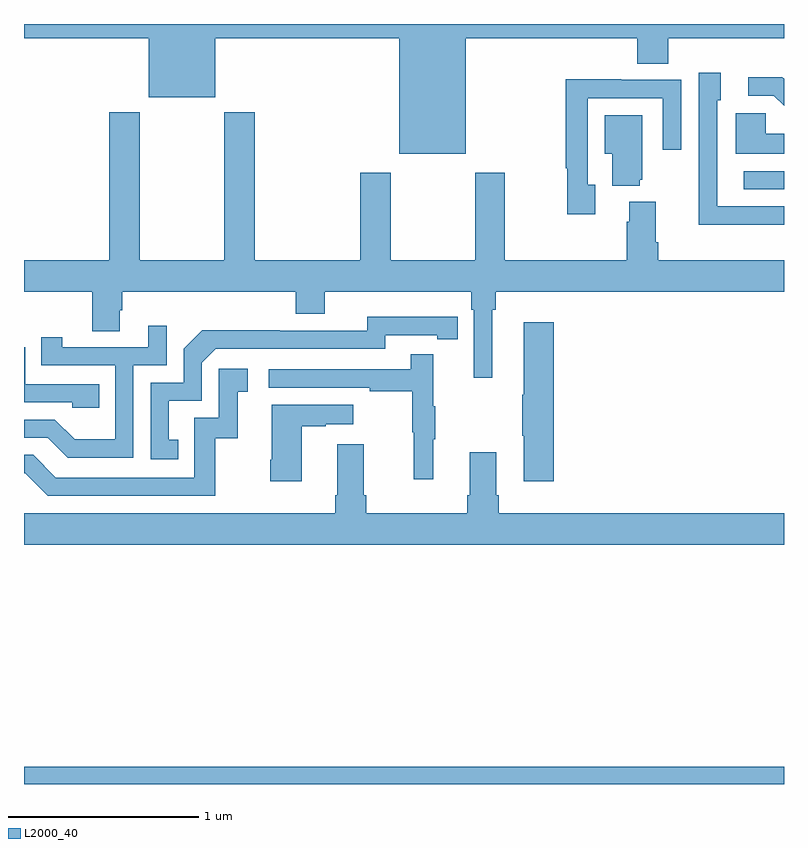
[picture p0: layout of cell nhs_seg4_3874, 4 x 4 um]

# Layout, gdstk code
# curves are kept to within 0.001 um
import gdstk
lib = gdstk.Library(unit=1e-6, precision=1e-09)
def R(c, l, rs):  # rectangles x0, y0, x1, y1
    for r in rs: c.add(gdstk.rectangle(r[:2], r[2:], *l))
def P(c, l, *ps):  # polygons
    for p in ps: c.add(gdstk.Polygon(p, *l))
L2000_40 = (2000, 40)

nhs_seg4_3874 = lib.new_cell('nhs_seg4_3874')
R(nhs_seg4_3874, L2000_40, [(315,788.9,319,788.992), (318.789,792.03,319,792.126)])
P(nhs_seg4_3874, L2000_40, [(317.326,792.824),(318.227,792.824),(318.227,792.691),(318.392,792.691),(318.392,792.824),(319,792.824),(319,792.9),(315,792.9),(315,792.824),(315.656,792.824),(315.656,792.515),(316.006,792.515),(316.006,792.824),(316.976,792.824),(316.976,792.218),(317.326,792.218)],
  [(319,791.94),(318.649,791.94),(318.649,792.194),(318.648,792.194),(318.648,792.498),(318.667,792.498),(318.667,792.643),(318.552,792.643),(318.552,792.149),(318.55,792.149),(318.55,791.843),(319,791.843)],
  [(319,792.611),(318.991,792.62),(318.813,792.62),(318.813,792.522),(318.947,792.522),(319,792.469)],
  [(318.007,792.054),(317.967,792.054),(317.967,792.51),(318.363,792.51),(318.363,792.237),(318.459,792.237),(318.459,792.606),(318.143,792.606),(318.143,792.608),(317.851,792.608),(317.851,792.142),(317.859,792.142),(317.859,791.898),(318.007,791.898)],
  [(317.464,791.396),(317.483,791.396),(317.483,791.492),(319,791.492),(319,791.656),(318.338,791.656),(318.338,791.752),(318.325,791.752),(318.325,791.965),(318.185,791.965),(318.185,791.858),(318.173,791.858),(318.173,791.656),(317.529,791.656),(317.529,792.118),(317.374,792.118),(317.374,791.656),(316.929,791.656),(316.929,792.118),(316.769,792.118),(316.769,791.656),(316.214,791.656),(316.214,792.436),(316.054,792.436),(316.054,791.656),(315.609,791.656),(315.609,792.436),(315.449,792.436),(315.449,791.656),(315,791.656),(315,791.492),(315.358,791.492),(315.358,791.284),(315.505,791.284),(315.505,791.394),(315.518,791.394),(315.518,791.492),(316.43,791.492),(316.43,791.375),(316.582,791.375),(316.582,791.492),(317.354,791.492),(317.354,791.396),(317.367,791.396),(317.367,791.037),(317.464,791.037)],
  [(319,792.322),(318.903,792.322),(318.903,792.43),(318.746,792.43),(318.746,792.218),(319,792.218)],
  [(318.242,792.081),(318.253,792.081),(318.253,792.421),(318.056,792.421),(318.056,792.218),(318.095,792.218),(318.095,792.05),(318.242,792.05)],
  [(315.812,790.713),(315.763,790.713),(315.763,790.917),(315.936,790.917),(315.936,791.118),(316.008,791.19),(316.902,791.19),(316.902,791.262),(317.174,791.262),(317.174,791.242),(317.282,791.242),(317.282,791.358),(316.806,791.359),(316.806,791.286),(316.346,791.286),(316.346,791.288),(315.938,791.288),(315.84,791.19),(315.84,791.013),(315.666,791.013),(315.666,790.608),(315.812,790.608)],
  [(317.789,791.329),(317.63,791.329),(317.63,790.949),(317.623,790.949),(317.623,790.732),(317.63,790.732),(317.63,790.494),(317.789,790.494)],
  [(315.576,791.103),(315.75,791.103),(315.75,791.311),(315.653,791.311),(315.653,791.199),(315.202,791.199),(315.202,791.251),(315.091,791.251),(315.091,791.103),(315.48,791.103),(315.48,790.714),(315.266,790.714),(315.162,790.818),(315,790.818),(315,790.722),(315.125,790.722),(315.23,790.617),(315.576,790.617)],
  [(315.395,791.004),(315.006,791.004),(315.006,791.199),(315,791.199),(315,790.908),(315.255,790.908),(315.255,790.881),(315.395,790.881)],
  [(317.153,790.715),(317.164,790.715),(317.164,790.889),(317.153,790.889),(317.153,791.161),(317.035,791.161),(317.035,791.082),(316.287,791.082),(316.287,790.986),(316.819,790.986),(316.819,790.966),(317.043,790.966),(317.043,790.752),(317.05,790.752),(317.05,790.503),(317.153,790.503)],
  [(316.006,790.719),(316.124,790.719),(316.124,790.965),(316.177,790.965),(316.177,791.086),(316.026,791.086),(316.026,790.827),(315.897,790.827),(315.897,790.512),(315.168,790.512),(315.048,790.632),(315,790.632),(315,790.536),(315.006,790.536),(315.126,790.416),(316.006,790.416)],
  [(316.462,790.783),(316.589,790.783),(316.589,790.793),(316.732,790.793),(316.732,790.897),(316.304,790.897),(316.304,790.606),(316.297,790.606),(316.297,790.494),(316.462,790.494)],
  [(319,790.324),(317.498,790.324),(317.498,790.42),(317.485,790.42),(317.485,790.645),(317.345,790.645),(317.345,790.42),(317.333,790.42),(317.333,790.324),(316.802,790.324),(316.802,790.42),(316.789,790.42),(316.789,790.687),(316.649,790.687),(316.649,790.42),(316.637,790.42),(316.637,790.324),(315,790.324),(315,790.16),(319,790.16)])

lib.write_gds('nhs_seg4_3874.gds')
